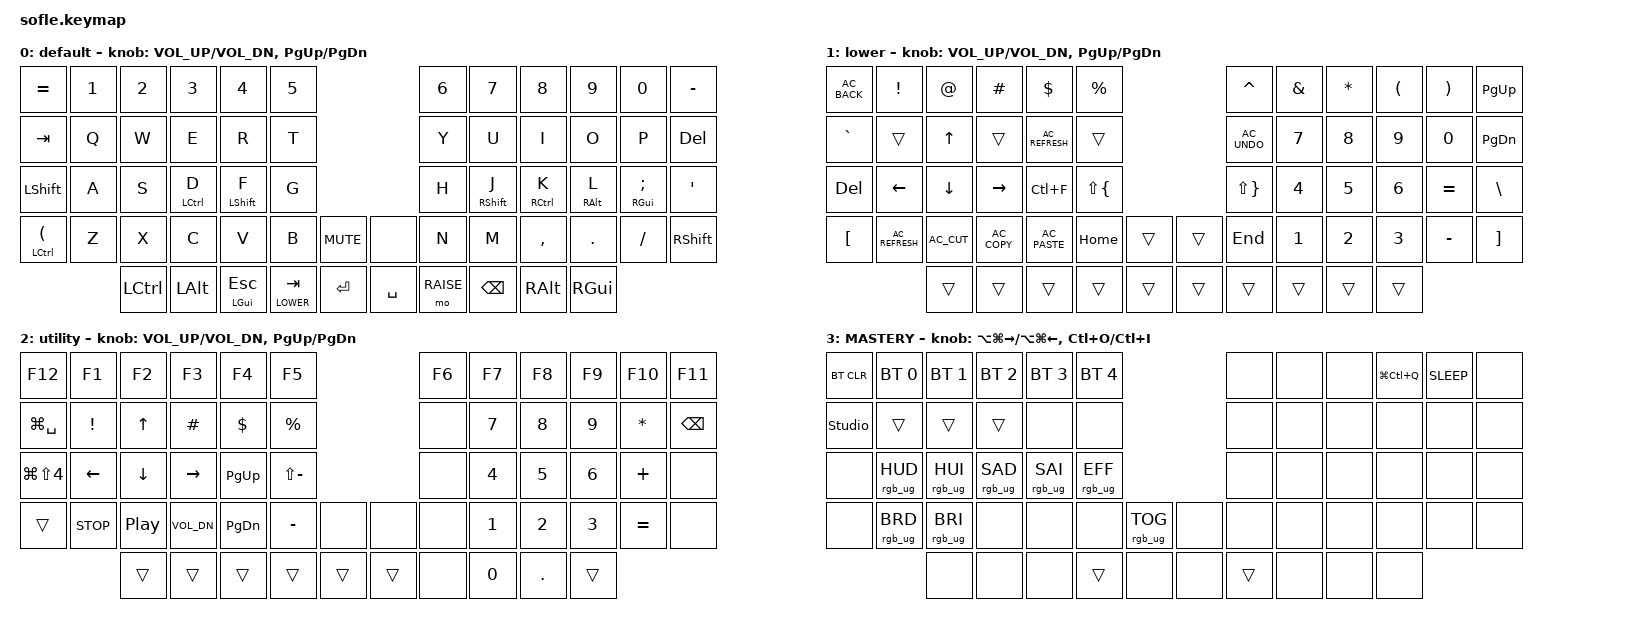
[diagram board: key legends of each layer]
/*
 * Copyright (c) 2020 The ZMK Contributors
 *
 * SPDX-License-Identifier: MIT
 */

#include <behaviors.dtsi>
#include <dt-bindings/zmk/keys.h>
#include <dt-bindings/zmk/bt.h>
#include <dt-bindings/zmk/rgb.h>
#include <dt-bindings/zmk/ext_power.h>
#include <dt-bindings/zmk/outputs.h>

#define BASE 0
#define LOWER 1
#define RAISE 2
#define ADJUST 3

/ {
    // Activate ADJUST layer by pressing raise and lower
    conditional_layers {
        compatible = "zmk,conditional-layers";
        adjust_layer {
            if-layers = <LOWER RAISE>;
            then-layer = <ADJUST>;
        };
    };

    behaviors {
        hm: homerow_mods {
            compatible = "zmk,behavior-hold-tap";
            label = "HOMEROW_MODS";
            #binding-cells = <2>;
            tapping-term-ms = <200>;
            quick-tap-ms = <175>;
            require-prior-idle-ms = <150>;
            flavor = "balanced";
            bindings = <&kp>, <&kp>;
        };
    };

   // macros {
    //    m_setup: m_setup {
     //       compatible = "zmk,behavior-macro";
      //      #binding-cells = <0>;
       //     bindings = <&kp S &kp E &kp T &kp U &kp P &kp MINUS &kp D &kp A &kp Y &kp RET>;
       // };
       // m_gemini: m_gemini {
       //     compatible = "zmk,behavior-macro";
       //     #binding-cells = <0>;
       //     bindings = <&kp LCTRL &kp G>;
       // };
       // m_note: m_note {
       //     compatible = "zmk,behavior-macro";
       //     #binding-cells = <0>;
       //     bindings = <&kp N &kp O &kp T &kp E &kp SPACE &kp DQT &kp DQT &kp LEFT>;
       // };
   // };

    keymap {
        compatible = "zmk,keymap";

        default_layer {
            display-name = "default";
            bindings = <
&kp EQUAL &kp N1 &kp N2   &kp N3   &kp N4    &kp N5                           &kp N6 &kp N7    &kp N8    &kp N9   &kp N0   &kp MINUS
&kp TAB   &kp Q  &kp W    &kp E    &kp R     &kp T                            &kp Y  &kp U     &kp I     &kp O    &kp P    &kp DEL
&kp LSHFT &kp A  &kp S    &hm LCTRL D &hm LSHFT F &kp G                       &kp H  &hm RSHFT J &hm RCTRL K &hm RALT L &hm RGUI SEMI &kp SQT
&hm LCTRL LPAR &kp Z  &kp X    &kp C    &kp V     &kp B      &kp C_MUTE &none      &kp N  &kp M     &kp COMMA &kp DOT  &kp FSLH &kp RSHFT
                 &kp LCTRL &kp LALT &mt LGUI ESC &lt LOWER TAB  &kp RET    &kp SPACE  &mo RAISE  &kp BSPC &kp RALT  &kp RGUI
            >;

            sensor-bindings = <&inc_dec_kp C_VOL_UP C_VOL_DN &inc_dec_kp PG_UP PG_DN>;
        };

        lower_layer {
            display-name = "lower";
            bindings = <
&kp C_AC_BACK    &kp EXCL  &kp AT    &kp HASH  &kp DLLR      &kp PRCNT                 &kp CARET &kp AMPS  &kp ASTRK &kp LPAR  &kp RPAR  &kp PG_UP
&kp GRAVE     &trans    &kp UP    &trans    &kp C_AC_REFRESH &trans                    &kp C_AC_UNDO &kp N7    &kp N8    &kp N9    &kp N0    &kp PG_DN
&kp DEL       &kp LEFT  &kp DOWN  &kp RIGHT &kp LC(F)     &kp LS(LBRC)              &kp LS(RBRC) &kp N4  &kp N5    &kp N6    &kp EQUAL &kp BSLH
&kp LBKT      &kp C_AC_REFRESH &kp C_AC_CUT &kp C_AC_COPY &kp C_AC_PASTE &kp HOME &trans &trans &kp END &kp N1 &kp N2 &kp N3 &kp MINUS &kp RBKT
                        &trans    &trans    &trans        &trans        &trans &trans &trans   &trans    &trans    &trans
            >;

            sensor-bindings = <&inc_dec_kp C_VOL_UP C_VOL_DN &inc_dec_kp PG_UP PG_DN>;
        };

        raise_layer {
            display-name = "utility";
// ------------------------------------------------------------------------------------------------------------
// |  F12  |  F1 |  F2 |  F3  |  F4  |  F5  |                   |  F6  |  F7   |  F8   |  F9  |  F10  |  F11  |
// | SPOTLT|  !  |  UP |  #   |  $   |  %   |                   |      |  7    |  8    |  9   |   *   | BKSP  |
// | SCRSHT| LEFT| DOWN| RIGHT| PGUP |  _   |                   |      |  4    |  5    |  6   |   +   |       |
// |       | MSTP| MPLY| VOLD | PGDN |  -   |      |  |       |      |  1    |  2    |  3   |   =   |       |
//               |     |      |      |      |      |  |      |      |  0    |  .    |      |
            bindings = <
&kp F12        &kp F1    &kp F2    &kp F3    &kp F4    &kp F5                        &kp F6    &kp F7    &kp F8    &kp F9    &kp F10   &kp F11
&kp LG(SPACE)  &kp EXCL  &kp UP    &kp HASH  &kp DLLR  &kp PRCNT                     &none     &kp N7    &kp N8    &kp N9    &kp ASTRK &kp BSPC
&kp LG(LS(N4)) &kp LEFT  &kp DOWN  &kp RIGHT &kp PG_UP &kp LS(MINUS)                 &none     &kp N4    &kp N5    &kp N6    &kp PLUS  &none
&trans         &kp C_STOP &kp C_PP &kp C_VOL_DN &kp PG_DN &kp MINUS  &none &none     &none     &kp N1    &kp N2    &kp N3    &kp EQUAL &none
                         &trans    &trans    &trans    &trans    &trans       &trans &none     &kp N0    &kp DOT   &trans
            >;

            sensor-bindings = <&inc_dec_kp C_VOL_UP C_VOL_DN &inc_dec_kp PG_UP PG_DN>;
        };

        adjust_layer {
            display-name = "MASTERY";
// ----------------------------------------------------------------------------------------------------------------------------
// | BTCLR  |  BT1    |  BT2    |   BT3   |   BT4   |   BT5   |                  |      |      |       | LOCK | SLEEP |       |
// | UNLOCK |  SETUP  |  NOTE   |  GEMINI |         |         |                  |      |      |       |      |       |       |
// |        | RGB_HUD | RGB_HUI | RGB_SAD | RGB_SAI | RGB_EFF |                  |      |      |       |      |       |       |
// |        | RGB_BRD | RGB_BRI |         |         |         | RGB_TOG | |      |      |      |       |      |       |       |
//                    |         |         |         |         |         | |      |      |      |       |      |
            bindings = <
&bt BT_CLR        &bt BT_SEL 0    &bt BT_SEL 1    &bt BT_SEL 2    &bt BT_SEL 3    &bt BT_SEL 4                            &none &none &none &kp LG(LC(Q)) &kp C_SLEEP &none
&studio_unlock    &trans &trans         &trans       &none           &none                                   &none &none &none &none &none &none
&none             &rgb_ug RGB_HUD &rgb_ug RGB_HUI &rgb_ug RGB_SAD &rgb_ug RGB_SAI &rgb_ug RGB_EFF                         &none &none &none &none &none &none
&none             &rgb_ug RGB_BRD &rgb_ug RGB_BRI &none           &none           &none            &rgb_ug RGB_TOG &none  &none &none &none &none &none &none
                                  &none           &none           &none           &trans           &none           &none  &trans &none &none &none
            >;
            
            // Left Encoder = Ghostty Split Navigation (Cmd+Alt+Arrows) | Right Encoder = Neovim Jumps
            sensor-bindings = <&inc_dec_kp LA(LG(RIGHT)) LA(LG(LEFT)) &inc_dec_kp LC(O) LC(I)>;
        };
    };
};
